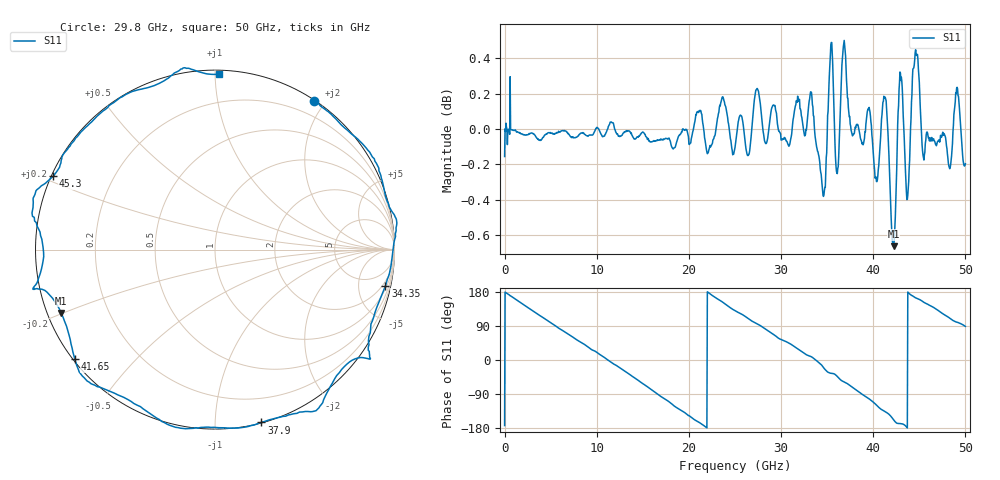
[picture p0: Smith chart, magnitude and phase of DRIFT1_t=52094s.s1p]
!Created with skrf (http://scikit-rf.org).
# Hz S RI R 50.0
!freq ReS11 ImS11
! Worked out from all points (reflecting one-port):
!   1001 points, 300 kHz to 50 GHz, reference 50 ohm
!   lowest |S11| = -0.7 dB at 42.2 GHz (marker M1), VSWR 26.20, Z = 1.98 - j9.89 ohm
!   phase of S11 starts at -173 deg and turns -818 deg over the sweep
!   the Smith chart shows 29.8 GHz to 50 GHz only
!   S11 on the Smith chart (normalised r, x): 29.8 GHz: 0.00, +1.87; 34.35 GHz: 1.32, -9.31; 37.9 GHz: 0.00, -1.30; 41.65 GHz: 0.01, -0.34; 45.3 GHz: 0.01, +0.22; 50 GHz: 0.02, +1.02
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300000  -0.9748 -0.1205
1.450291e9  -0.9124 0.4043
3.25028e9  -0.5926 0.8008
6.250262e9  0.2004 0.9787
9.500243e9  0.8912 0.4448
1.250022e10  0.9322 -0.3482
1.580021e10  0.2406 -0.9619
1.73502e10  -0.2083 -0.9714
1.875019e10  -0.5966 -0.7942
2.150017e10  -0.9916 -0.157
2.345016e10  -0.9298 0.4125
2.500015e10  -0.6354 0.7566
2.740014e10  -0.0984 1.022
2.980012e10  0.5542 0.8306
3.125011e10  0.7852 0.6245
3.31001e10  1.003 0.1825
3.435009e10  0.9496 -0.2023
3.525009e10  0.8602 -0.5798
3.750008e10  0.3783 -0.9292
3.790007e10  0.2581 -0.9627
3.960006e10  -0.2339 -0.9852
4.165005e10  -0.7812 -0.6099
4.220005e10  -0.8566 -0.3531
4.290004e10  -1.014 -0.2213
4.375004e10  -0.9578 0.012
4.530003e10  -0.9011 0.4092
4.770001e10  -0.4949 0.8655
5e10  0.0206 0.9774
